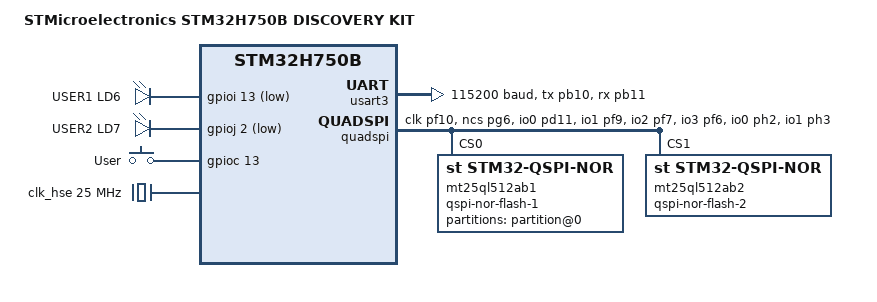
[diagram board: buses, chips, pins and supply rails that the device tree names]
/*
 * Copyright (c) 2023 STMicroelectronics
 *
 * SPDX-License-Identifier: Apache-2.0
 */

/dts-v1/;
#include <st/h7/stm32h750Xb.dtsi>
#include <st/h7/stm32h750xbhx-pinctrl.dtsi>
#include <zephyr/dt-bindings/input/input-event-codes.h>

/ {
	model = "STMicroelectronics STM32H750B DISCOVERY KIT";
	compatible = "st,stm32h750b-dk";

	chosen {
		zephyr,console = &usart3;
		zephyr,shell-uart = &usart3;
		zephyr,sram = &sram0;
		zephyr,flash = &flash0;
		zephyr,flash-controller = &mt25ql512ab1;
	};

	leds {
		compatible = "gpio-leds";
		red_led: led_1 {
			gpios = <&gpioi 13 GPIO_ACTIVE_LOW>;
			label = "USER1 LD6";
		};
		green_led: led_2 {
			gpios = <&gpioj 2 GPIO_ACTIVE_LOW>;
			label = "USER2 LD7";
		};
	};

	gpio_keys {
		compatible = "gpio-keys";
		user_button: button {
			label = "User";
			gpios = <&gpioc 13 GPIO_ACTIVE_HIGH>;
			zephyr,code = <INPUT_KEY_0>;
		};
	};

	aliases {
		led0 = &green_led;
		led1 = &red_led;
		sw0 = &user_button;
		spi-flash0 = &mt25ql512ab1;
	};
};

&clk_hse {
	clock-frequency = <DT_FREQ_M(25)>;
	hse-bypass;
	status = "okay";
};

&pll {
	div-m = <5>;
	mul-n = <192>;
	div-p = <2>;
	div-q = <4>;
	div-r = <4>;
	clocks = <&clk_hse>;
	status = "okay";
};

&rcc {
	clocks = <&pll>;
	clock-frequency = <DT_FREQ_M(480)>;
	d1cpre = <1>;
	hpre = <2>;
	d1ppre = <2>;
	d2ppre1 = <2>;
	d2ppre2 = <2>;
	d3ppre = <2>;
};

&usart3 {
	pinctrl-0 = <&usart3_tx_pb10 &usart3_rx_pb11>;
	pinctrl-names = "default";
	current-speed = <115200>;
	status = "okay";
};

&quadspi {
	pinctrl-names = "default";
	pinctrl-0 = <&quadspi_clk_pf10 &quadspi_bk1_ncs_pg6
		     &quadspi_bk1_io0_pd11 &quadspi_bk1_io1_pf9
		     &quadspi_bk1_io2_pf7 &quadspi_bk1_io3_pf6
		     &quadspi_bk2_io0_ph2 &quadspi_bk2_io1_ph3
		     &quadspi_bk2_io2_pg9 &quadspi_bk2_io3_pg14>;
	flash-id = <1>;
	status = "okay";

	mt25ql512ab1: qspi-nor-flash-1@0 {
		compatible = "st,stm32-qspi-nor";
		reg = <0>;
		qspi-max-frequency = <72000000>;
		size = <DT_SIZE_M(512)>; /* 64 MBytes */
		spi-bus-width = <4>;
		status = "okay";

		partitions {
			   compatible = "fixed-partitions";
			   #address-cells = <1>;
			   #size-cells = <1>;

			   partition@0 {
			       reg = <0x0 DT_SIZE_M(64)>;
			   };
		};
	};

	mt25ql512ab2: qspi-nor-flash-2@1 {
		compatible = "st,stm32-qspi-nor";
		reg = <1>;
		qspi-max-frequency = <72000000>;
		size = <DT_SIZE_M(512)>; /* 64 MBytes */
		status = "okay";
	};
};
